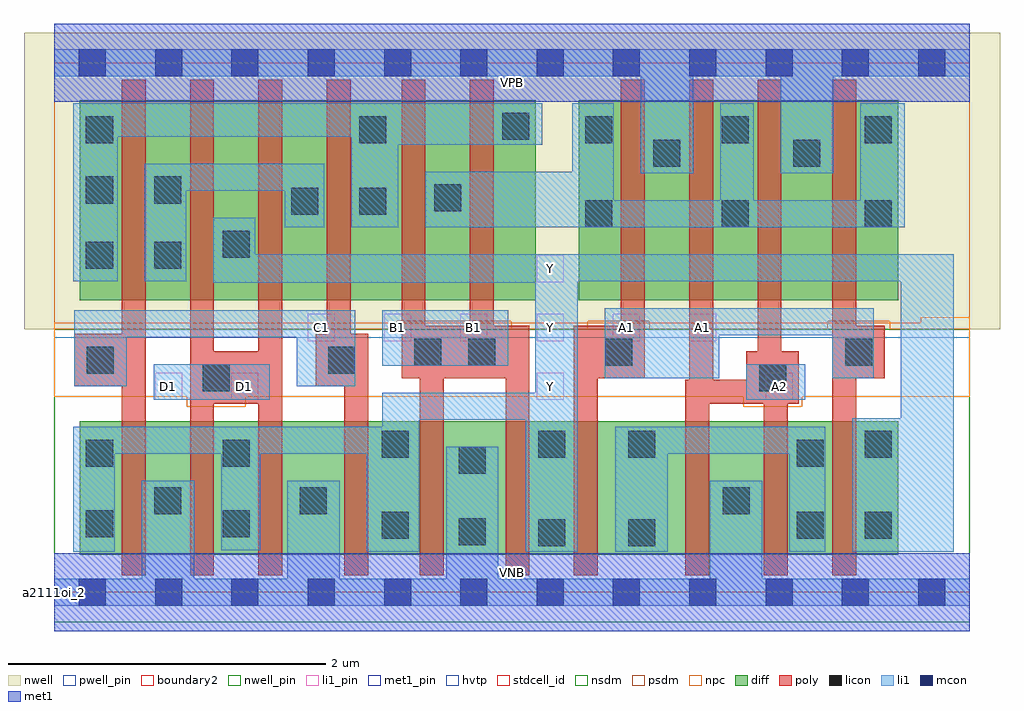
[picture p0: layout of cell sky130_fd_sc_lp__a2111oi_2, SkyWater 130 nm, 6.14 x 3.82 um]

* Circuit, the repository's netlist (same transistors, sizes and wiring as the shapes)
* Copyright 2020 The SkyWater PDK Authors
*
* Licensed under the Apache License, Version 2.0 (the "License");
* you may not use this file except in compliance with the License.
* You may obtain a copy of the License at
*
*     https://www.apache.org/licenses/LICENSE-2.0
*
* Unless required by applicable law or agreed to in writing, software
* distributed under the License is distributed on an "AS IS" BASIS,
* WITHOUT WARRANTIES OR CONDITIONS OF ANY KIND, either express or implied.
* See the License for the specific language governing permissions and
* limitations under the License.
*
* SPDX-License-Identifier: Apache-2.0

.SUBCKT sky130_fd_sc_lp__a2111oi_2 A1 A2 B1 C1 D1 VGND VNB VPB VPWR Y
*.PININFO A1:I A2:I B1:I C1:I D1:I VGND:I VNB:I VPB:I VPWR:I Y:O
MMPA0 pndA A1 VPWR VPB sky130_fd_pr__pfet_01v8_hvt m=2 w=1.26U l=0.15U mult=1 sa=0.265
+ sb=0.265 sd=0.28 area=0.063 perim=1.14
MMPA1 pndA A2 VPWR VPB sky130_fd_pr__pfet_01v8_hvt m=2 w=1.26U l=0.15U mult=1 sa=0.265
+ sb=0.265 sd=0.28 area=0.063 perim=1.14
MMPB0 pndB B1 pndA VPB sky130_fd_pr__pfet_01v8_hvt m=2 w=1.26U l=0.15U mult=1 sa=0.265
+ sb=0.265 sd=0.28 area=0.063 perim=1.14
MMPC0 pndC C1 pndB VPB sky130_fd_pr__pfet_01v8_hvt m=2 w=1.26U l=0.15U mult=1 sa=0.265
+ sb=0.265 sd=0.28 area=0.063 perim=1.14
MMPD0 Y D1 pndC VPB sky130_fd_pr__pfet_01v8_hvt m=2 w=1.26U l=0.15U mult=1 sa=0.265
+ sb=0.265 sd=0.28 area=0.063 perim=1.14
MMNA0 Y A1 sndA1 VNB sky130_fd_pr__nfet_01v8 m=2 w=0.84U l=0.15U mult=1 sa=0.265
+ sb=0.265 sd=0.28 area=0.063 perim=1.14
MMNA1 sndA1 A2 VGND VNB sky130_fd_pr__nfet_01v8 m=2 w=0.84U l=0.15U mult=1 sa=0.265
+ sb=0.265 sd=0.28 area=0.063 perim=1.14
MMNB0 Y B1 VGND VNB sky130_fd_pr__nfet_01v8 m=2 w=0.84U l=0.15U mult=1 sa=0.265
+ sb=0.265 sd=0.28 area=0.063 perim=1.14
MMNC0 Y C1 VGND VNB sky130_fd_pr__nfet_01v8 m=2 w=0.84U l=0.15U mult=1 sa=0.265
+ sb=0.265 sd=0.28 area=0.063 perim=1.14
MMND0 Y D1 VGND VNB sky130_fd_pr__nfet_01v8 m=2 w=0.84U l=0.15U mult=1 sa=0.265
+ sb=0.265 sd=0.28 area=0.063 perim=1.14
.ENDS sky130_fd_sc_lp__a2111oi_2

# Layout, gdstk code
import gdstk
lib = gdstk.Library(unit=1e-6, precision=1e-09)
def R(c, l, rs):  # rectangles x0, y0, x1, y1
    for r in rs: c.add(gdstk.rectangle(r[:2], r[2:], *l))
def A(c, l, x, y, w, h, nx, ny, dx, dy):  # array of equal rectangles
    R(c, l, [(x+i*dx, y+j*dy, x+i*dx+w, y+j*dy+h) for i in range(nx) for j in range(ny)])
def P(c, l, *ps):  # polygons
    for p in ps: c.add(gdstk.Polygon(p, *l))
nwell_pin = (64, 16)
nwell = (64, 20)
diff = (65, 20)
poly = (66, 20)
licon = (66, 44)
li1_pin = (67, 16)
li1 = (67, 20)
mcon = (67, 44)
met1_pin = (68, 16)
met1 = (68, 20)
hvtp = (78, 44)
stdcell_id = (81, 4)
nsdm = (93, 44)
psdm = (94, 20)
npc = (95, 20)
pwell_pin = (122, 16)
boundary2 = (236, 0)

sky130_fd_sc_lp__a2111oi = lib.new_cell('sky130_fd_sc_lp__a2111oi_2')
R(sky130_fd_sc_lp__a2111oi, nwell_pin, [(0,3.085,5.76,3.33)])
R(sky130_fd_sc_lp__a2111oi, nwell, [(-0.19,1.655,5.95,3.52)])
R(sky130_fd_sc_lp__a2111oi, diff, [(0.16,0.235,5.31,1.075), (0.16,1.835,3.03,3.095), (3.3,1.835,5.31,3.095)])
P(sky130_fd_sc_lp__a2111oi, poly, [(0.575,3.225),(0.425,3.225),(0.425,1.625),(0.125,1.625),(0.125,1.295),(0.425,1.295),(0.425,0.105),(0.575,0.105)],
  [(1.435,3.225),(1.285,3.225),(1.285,1.515),(1.005,1.515),(1.005,3.225),(0.855,3.225),(0.855,0.105),(1.005,0.105),(1.005,1.185),(1.285,1.185),(1.285,0.105),(1.435,0.105)],
  [(1.975,1.625),(1.865,1.625),(1.865,3.225),(1.715,3.225),(1.715,1.625),(1.645,1.625),(1.645,1.295),(1.825,1.295),(1.825,0.105),(1.975,0.105)],
  [(2.99,1.675),(2.765,1.675),(2.765,3.225),(2.615,3.225),(2.615,1.675),(2.335,1.675),(2.335,3.225),(2.185,3.225),(2.185,1.345),(2.3,1.345),(2.3,0.105),(2.45,0.105),(2.45,1.345),(2.84,1.345),(2.84,0.105),(2.99,0.105)],
  [(3.715,3.225),(3.565,3.225),(3.565,1.675),(3.27,1.675),(3.27,0.105),(3.42,0.105),(3.42,1.345),(3.715,1.345)],
  [(4.685,1.515),(4.575,1.515),(4.575,3.225),(4.425,3.225),(4.425,1.515),(4.355,1.515),(4.355,1.335),(4.145,1.335),(4.145,3.225),(3.995,3.225),(3.995,1.335),(3.97,1.335),(3.97,0.105),(4.12,0.105),(4.12,1.185),(4.465,1.185),(4.465,0.105),(4.615,0.105),(4.615,1.185),(4.685,1.185)],
  [(5.225,1.675),(5.045,1.675),(5.045,3.225),(4.895,3.225),(4.895,0.105),(5.045,0.105),(5.045,1.345),(5.225,1.345)])
R(sky130_fd_sc_lp__a2111oi, licon, [(3.045,0.29,3.215,0.46), (3.61,0.29,3.78,0.46), (2.545,0.295,2.715,0.465), (2.06,0.335,2.23,0.505), (4.67,0.335,4.84,0.505), (5.1,0.335,5.27,0.505), (0.2,0.345,0.37,0.515), (1.06,0.345,1.23,0.515), (0.63,0.49,0.8,0.66), (1.545,0.49,1.715,0.66), (4.205,0.49,4.375,0.66), (2.545,0.745,2.715,0.915), (0.2,0.79,0.37,0.96), (1.06,0.79,1.23,0.96), (4.67,0.79,4.84,0.96), (2.06,0.845,2.23,1.015), (3.045,0.845,3.215,1.015), (3.61,0.845,3.78,1.015), (5.1,0.845,5.27,1.015), (0.935,1.265,1.105,1.435), (4.435,1.265,4.605,1.435), (0.205,1.375,0.375,1.545), (1.725,1.375,1.895,1.545), (2.265,1.425,2.435,1.595), (2.605,1.425,2.775,1.595), (3.465,1.425,3.635,1.595), (4.975,1.425,5.145,1.595), (0.2,2.035,0.37,2.205), (0.63,2.035,0.8,2.205), (1.06,2.105,1.23,2.275), (3.34,2.295,3.51,2.465), (4.2,2.295,4.37,2.465), (5.1,2.295,5.27,2.465), (1.49,2.375,1.66,2.545), (1.92,2.375,2.09,2.545), (2.39,2.395,2.56,2.565), (0.2,2.445,0.37,2.615), (0.63,2.445,0.8,2.615), (3.77,2.675,3.94,2.845), (4.65,2.675,4.82,2.845), (0.2,2.825,0.37,2.995), (1.92,2.825,2.09,2.995), (3.34,2.825,3.51,2.995), (4.2,2.825,4.37,2.995), (5.1,2.825,5.27,2.995), (2.82,2.845,2.99,3.015)])
A(sky130_fd_sc_lp__a2111oi, li1_pin, 1.595, 1.58, 0.17, 0.17, 6, 1, 0.48, 0)
R(sky130_fd_sc_lp__a2111oi, li1_pin, [(0.635,1.21,0.805,1.38), (1.115,1.21,1.285,1.38), (3.035,1.21,3.205,1.38), (4.475,1.21,4.645,1.38), (3.035,1.95,3.205,2.12)])
R(sky130_fd_sc_lp__a2111oi, li1, [(0.625,1.21,1.355,1.435), (4.355,1.21,4.725,1.435), (2.065,1.425,2.855,1.775)])
P(sky130_fd_sc_lp__a2111oi, li1, [(4.57,2.635),(4.57,3.245),(4.02,3.245),(4.02,2.635),(3.69,2.635),(3.69,3.245),(0,3.245),(0,3.415),(5.76,3.415),(5.76,3.245),(4.9,3.245),(4.9,2.635)],
  [(5.76,0.085),(4.455,0.085),(4.455,0.7),(4.125,0.7),(4.125,0.085),(2.795,0.085),(2.795,0.915),(2.465,0.915),(2.465,0.085),(1.795,0.085),(1.795,0.7),(1.465,0.7),(1.465,0.085),(0.88,0.085),(0.88,0.7),(0.55,0.7),(0.55,0.085),(0,0.085),(0,-0.085),(5.76,-0.085)],
  [(2.965,0.255),(2.965,1.085),(2.295,1.085),(2.295,0.255),(1.965,0.255),(1.965,0.87),(1.295,0.87),(1.295,0.265),(1.05,0.265),(1.05,0.87),(0.38,0.87),(0.38,0.255),(0.12,0.255),(0.12,1.04),(2.065,1.04),(2.065,1.255),(3.025,1.255),(3.025,1.945),(1,1.945),(1,2.355),(1.265,2.355),(1.265,2.125),(5.66,2.125),(5.66,0.255),(5.02,0.255),(5.02,1.095),(5.325,1.095),(5.325,1.955),(3.295,1.955),(3.295,0.255)],
  [(4.4,2.465),(5.07,2.465),(5.07,3.075),(5.35,3.075),(5.35,2.295),(2.335,2.295),(2.335,2.645),(3.26,2.645),(3.26,3.075),(3.52,3.075),(3.52,2.465),(4.19,2.465),(4.19,3.075),(4.4,3.075)],
  [(2.165,2.815),(2.165,2.295),(1.87,2.295),(1.87,2.865),(0.4,2.865),(0.4,1.955),(0.12,1.955),(0.12,3.075),(3.07,3.075),(3.07,2.815)],
  [(1.45,2.525),(0.83,2.525),(0.83,1.955),(0.57,1.955),(0.57,2.695),(1.7,2.695),(1.7,2.295),(1.45,2.295)],
  [(4.85,1.04),(3.53,1.04),(3.53,0.255),(3.86,0.255),(3.86,0.87),(4.625,0.87),(4.625,0.255),(4.85,0.255)],
  [(3.465,1.345),(3.465,1.785),(5.155,1.785),(5.155,1.345),(4.895,1.345),(4.895,1.615),(4.185,1.615),(4.185,1.345)],
  [(0.125,1.295),(0.125,1.775),(1.895,1.775),(1.895,1.295),(1.525,1.295),(1.525,1.605),(0.455,1.605),(0.455,1.295)])
A(sky130_fd_sc_lp__a2111oi, mcon, 0.155, -0.085, 0.17, 0.17, 12, 2, 0.48, 3.33)
R(sky130_fd_sc_lp__a2111oi, met1_pin, [(0,0,5.76,0.245), (0,3.085,5.76,3.33)])
R(sky130_fd_sc_lp__a2111oi, met1, [(0,-0.245,5.76,0.245), (0,3.085,5.76,3.575)])
R(sky130_fd_sc_lp__a2111oi, hvtp, [(0,1.6,5.76,3.33)])
R(sky130_fd_sc_lp__a2111oi, stdcell_id, [(0,0,5.76,3.33)])
R(sky130_fd_sc_lp__a2111oi, nsdm, [(0,-0.19,5.76,1.655)])
P(sky130_fd_sc_lp__a2111oi, psdm, [(5.76,3.52),(0,3.52),(0,1.655),(2.155,1.655),(2.155,1.705),(2.875,1.705),(2.875,1.655),(3.355,1.655),(3.355,1.705),(3.745,1.705),(3.745,1.655),(4.865,1.655),(4.865,1.705),(5.255,1.705),(5.255,1.655),(5.76,1.655)])
P(sky130_fd_sc_lp__a2111oi, npc, [(5.76,1.73),(5.45,1.73),(5.45,1.695),(0,1.695),(0,1.23),(0.835,1.23),(0.835,1.165),(1.205,1.165),(1.205,1.23),(4.335,1.23),(4.335,1.165),(4.705,1.165),(4.705,1.23),(5.76,1.23)])
R(sky130_fd_sc_lp__a2111oi, pwell_pin, [(0,0,5.76,0.245)])
R(sky130_fd_sc_lp__a2111oi, boundary2, [(0,0,5.76,3.33)])
sky130_fd_sc_lp__a2111oi.add(gdstk.Label('VNB', (2.88,0.123), layer=64, texttype=59))
sky130_fd_sc_lp__a2111oi.add(gdstk.Label('VPB', (2.88,3.208), layer=64, texttype=5))
sky130_fd_sc_lp__a2111oi.add(gdstk.Label('a2111oi_2', (0,0), layer=83, texttype=44))
sky130_fd_sc_lp__a2111oi.add(gdstk.Label('VPWR', (2.88,3.208), layer=68, texttype=5))
sky130_fd_sc_lp__a2111oi.add(gdstk.Label('VGND', (2.88,0.123), layer=68, texttype=5))
sky130_fd_sc_lp__a2111oi.add(gdstk.Label('Y', (3.12,1.295), layer=67, texttype=5))
sky130_fd_sc_lp__a2111oi.add(gdstk.Label('Y', (3.12,1.665), layer=67, texttype=5))
sky130_fd_sc_lp__a2111oi.add(gdstk.Label('Y', (3.12,2.035), layer=67, texttype=5))
sky130_fd_sc_lp__a2111oi.add(gdstk.Label('A2', (4.56,1.295), layer=67, texttype=5))
sky130_fd_sc_lp__a2111oi.add(gdstk.Label('B1', (2.16,1.665), layer=67, texttype=5))
sky130_fd_sc_lp__a2111oi.add(gdstk.Label('B1', (2.64,1.665), layer=67, texttype=5))
sky130_fd_sc_lp__a2111oi.add(gdstk.Label('D1', (0.72,1.295), layer=67, texttype=5))
sky130_fd_sc_lp__a2111oi.add(gdstk.Label('D1', (1.2,1.295), layer=67, texttype=5))
sky130_fd_sc_lp__a2111oi.add(gdstk.Label('C1', (1.68,1.665), layer=67, texttype=5))
sky130_fd_sc_lp__a2111oi.add(gdstk.Label('A1', (3.6,1.665), layer=67, texttype=5))
sky130_fd_sc_lp__a2111oi.add(gdstk.Label('A1', (4.08,1.665), layer=67, texttype=5))

lib.write_gds('sky130_fd_sc_lp__a2111oi_2.gds')
